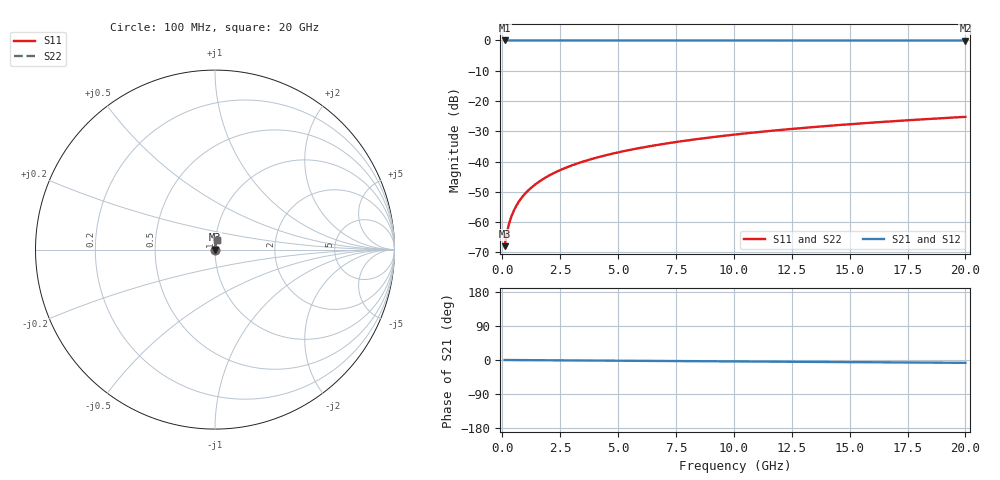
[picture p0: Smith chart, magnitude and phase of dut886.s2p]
! Touchstone file exported from HFSS 2026.1.0
!  File:  C:/ffzhzh/LocalFiles/Ansys_Project_Files/temp_train_TSV_886_1783185853_51560.aedt
!  Generated:  01:25:52 AM Jul  5, 2026
!  Design:  TSV
!  Project:  temp_train_TSV_886_1783185853_51560
! Variables:
!  h_bsmrdl = 2um
!  h_ox = 20um
!  h_rdl = 5um
!  h_sub = 63.86um
!  h_tmrdl = 5um
!  h_tsv = 63.86um
!  h_via = 3um
!  l_bsmrdl = 300um
!  l_sub = 411.58um
!  l_tmrdl = 200um
!  m_sub = 200um
!  pitch = 43.24um
!  r_tsv = 5.79um
!  s_tmrdl = 10um
!  w_bsmrdl = 18um
!  w_sub = 500um
!  w_tmrdl = 12um
!  x_tsv_center1 = 206um
!  x_tsv_center2 = 524um
!  x_tsv_center3 = 736um
!  x_tsv_center4 = 1054um
!  x_tsv_center5 = 1266um
!  x_tsv_center6 = 1584um
# GHz S MA R 50.000000
! Terminal data exported
! Port[1] = TSV1_1_T1
! Port[2] = TSV1_1_T2
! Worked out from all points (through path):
!   200 points, 100 MHz to 20 GHz, reference 50 ohm
!   highest |S21| = 0.00 dB at 100 MHz (marker M1); lowest = 0.0 dB at 20 GHz (marker M2)
!   group delay of S21, straight-line fit = 1.03 ps
!   lowest |S11| = -67.9 dB at 100 MHz (marker M3), VSWR 1.00, Z = 50 + j0.0312 ohm
!   |S11| at or under -10 dB: start of sweep to end of sweep
!   |S22| runs from -67.9 to -25.2 dB; largest |S21 - S12| = 3.6e-15
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0.1  0.0004014 51.0  0.9997 -0.0  0.9997 -0.0  0.0004014 51.0
! Gamma 0 0 0 0
! Port Impedance 50 0 50 0
0.2  0.0006746 67.1  0.9997 -0.1  0.9997 -0.1  0.0006746 67.1
0.3  0.0009678 73.4  0.9997 -0.1  0.9997 -0.1  0.0009678 73.4
0.4  0.001264 76.5  0.9997 -0.2  0.9997 -0.2  0.001264 76.5
0.5  0.001558 78.4  0.9997 -0.2  0.9997 -0.2  0.001558 78.4
0.6  0.00185 79.6  0.9997 -0.2  0.9997 -0.2  0.00185 79.6
0.7  0.002139 80.5  0.9997 -0.3  0.9997 -0.3  0.002139 80.5
0.8  0.002427 81.2  0.9996 -0.3  0.9996 -0.3  0.002427 81.2
1  0.002998 82.2  0.9996 -0.4  0.9996 -0.4  0.002998 82.2
1.4  0.004133 83.4  0.9996 -0.5  0.9996 -0.5  0.004133 83.4
1.7  0.004981 84.0  0.9995 -0.7  0.9995 -0.7  0.004981 84.0
2  0.005828 84.4  0.9995 -0.8  0.9995 -0.8  0.005828 84.4
2.7  0.007797 84.8  0.9994 -1.0  0.9994 -1.0  0.007797 84.8
3.5  0.01003 85.0  0.9993 -1.3  0.9993 -1.3  0.01003 85.0
4.2  0.01198 85.0  0.9992 -1.6  0.9992 -1.6  0.01198 85.0
5  0.01419 85.0  0.9991 -1.9  0.9991 -1.9  0.01419 85.0
6.8  0.01912 84.7  0.9989 -2.6  0.9989 -2.6  0.01912 84.7
8.3  0.02322 84.4  0.9987 -3.1  0.9987 -3.1  0.02322 84.4
10.1  0.02811 83.9  0.9985 -3.8  0.9985 -3.8  0.02811 83.9
13.4  0.03705 83.0  0.998 -5.0  0.998 -5.0  0.03705 83.0
16.7  0.04594 82.0  0.9975 -6.2  0.9975 -6.2  0.04594 82.0
20  0.05477 80.9  0.9969 -7.5  0.9969 -7.5  0.05477 80.9
